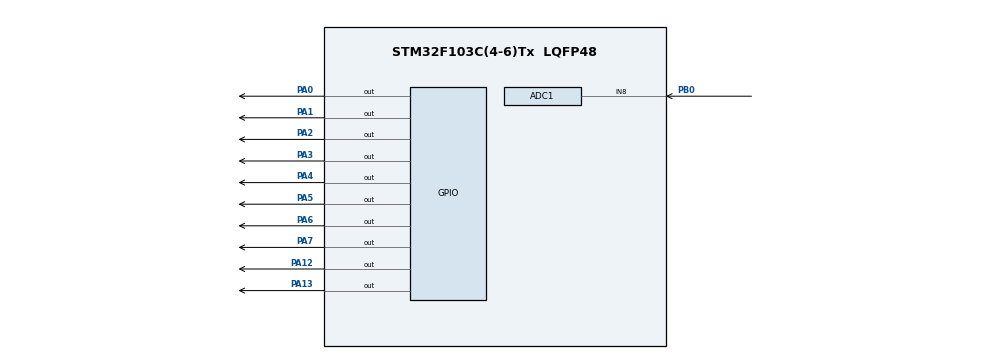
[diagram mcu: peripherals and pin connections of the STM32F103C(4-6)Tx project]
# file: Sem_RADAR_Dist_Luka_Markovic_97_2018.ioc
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ADC1.Channel-1\#ChannelRegularConversion=ADC_CHANNEL_8
ADC1.ContinuousConvMode=ENABLE
ADC1.NbrOfConversion=1
ADC1.NbrOfConversionFlag=1
ADC1.Rank-1\#ChannelRegularConversion=1
ADC1.SamplingTime-1\#ChannelRegularConversion=ADC_SAMPLETIME_239CYCLES_5
ADC1.master=1
Mcu.Family=STM32F1
Mcu.Name=STM32F103C(4-6)Tx
Mcu.Package=LQFP48
NVIC.PriorityGroup=NVIC_PRIORITYGROUP_4
PA0-WKUP.Signal=GPIO_Output
PA1.Signal=GPIO_Output
PA12.Signal=GPIO_Output
PA13.Signal=GPIO_Output
PA2.Signal=GPIO_Output
PA3.Signal=GPIO_Output
PA4.Signal=GPIO_Output
PA5.Signal=GPIO_Output
PA6.Signal=GPIO_Output
PA7.Signal=GPIO_Output
PB0.Signal=ADCx_IN8
ProjectManager.HeapSize=0x200
ProjectManager.StackSize=0x400
ProjectManager.TargetToolchain=STM32CubeIDE
RCC.APB1Freq_Value=8000000
RCC.APB2Freq_Value=8000000
SH.ADCx_IN8.0=ADC1_IN8,IN8
board=custom

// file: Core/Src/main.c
/* USER CODE BEGIN Header */
/**
  ******************************************************************************
  * @file           : main.c
  * @brief          : Main program body
  ******************************************************************************
  * @attention
  *
  * Copyright (c) 2023 STMicroelectronics.
  * All rights reserved.
  *
  * This software is licensed under terms that can be found in the LICENSE file
  * in the root directory of this software component.
  * If no LICENSE file comes with this software, it is provided AS-IS.
  *
  ******************************************************************************
  */
/* USER CODE END Header */
#include "main.h"

/* USER CODE BEGIN Includes */
#include <stdio.h>
#include <stdlib.h>
#include <string.h>
#include <math.h>
#include "LCD_DRIVER.h"
#include "arm_math.h"
/* USER CODE END Includes */

/* USER CODE BEGIN PD */
#define TRUE 1
#define FALSE 0

#define FFT_SIZE 32

#define PI 3.14159265359
#define SPEED_OF_LIGHT 3e8

/* USER CODE END PD */

ADC_HandleTypeDef hadc1;

void SystemClock_Config(void);
static void MX_GPIO_Init(void);
static void MX_ADC1_Init(void);

/* USER CODE BEGIN 0 */

//pomocna funkcija za konverziju float u string
void floatToString(char *buffer, int bufferSize, float value) {
    snprintf(buffer, bufferSize, "%.2f", value);
}

void collectADCSamples(float* samples, uint16_t size) {
	lcdWriteString("Gathering data...");

	HAL_ADCEx_Calibration_Start(&hadc1);

    for (int i = 0; i < size; i++) {
    	HAL_ADC_Start(&hadc1);
        if(HAL_ADC_PollForConversion(&hadc1, HAL_MAX_DELAY) == HAL_OK){

    		samples[i] = HAL_ADC_GetValue(&hadc1);
//    		char myString[10] = "";
//    		floatToString(myString, sizeof(myString), samples[i]);
//    		lcdWriteString(myString);
//    		lcdClear();

        }
		HAL_ADC_Stop(&hadc1);
    }

    lcdClear();
}

void calculateDFT(const float inputSignal[], float realPart[], float imagPart[], int length) {
    lcdWriteString("Converting...");

    for (int k = 0; k < length; k++) {
        realPart[k] = 0.0;
        imagPart[k] = 0.0;

        for (int n = 0; n < length; n++) {
            float angle = -2 * PI * k * n / length;
            float cos_val = cosf(angle);
            float sin_val = sinf(angle);
            realPart[k] += inputSignal[n] * cos_val;
            imagPart[k] -= inputSignal[n] * sin_val;
        }

        // Correct the DC offset for the first element
        if (k == 0) {
            realPart[k] /= length;
            imagPart[k] = 0.0;
        }
    }

    lcdClear();
}

/* USER CODE END 0 */

int main(void)
{

  /* MCU Configuration--------------------------------------------------------*/

  /* Reset of all peripherals, Initializes the Flash interface and the Systick. */
  HAL_Init();

  /* Configure the system clock */
  SystemClock_Config();

  /* Initialize all configured peripherals */
  MX_GPIO_Init();
  MX_ADC1_Init();
  /* USER CODE BEGIN 2 */
  lcdInit();

  //Init FFT handle
  //arm_cfft_radix2_instance_q15 fftInstance;

  //q15_t fftBufIn[FFT_SIZE];
  //q15_t fftBufOut[FFT_SIZE/2];

  char distanceString[20];
  float inputSignal[FFT_SIZE];

  float realPart[FFT_SIZE];
  float imagPart[FFT_SIZE];

  /* USER CODE END 2 */

  /* Infinite loop */
  while (1)
  {

    /* USER CODE BEGIN 3 */
	  collectADCSamples(inputSignal, FFT_SIZE);

//	  arm_cfft_radix2_init_q15(&fftInstance, FFT_SIZE, 0, 1);
//	  arm_cfft_radix2_q15(&fftInstance, fftBufIn);
//	  arm_cmplx_mag_q15(fftBufIn, fftBufOut, FFT_SIZE);

	  calculateDFT(inputSignal, realPart, imagPart, FFT_SIZE);

	  float amplitudeSpectrum[FFT_SIZE / 2];
	  for (int i = 0; i < FFT_SIZE / 2; i++) {
	      amplitudeSpectrum[i] = sqrt(realPart[i] * realPart[i] + imagPart[i] * imagPart[i]);
	  }

	  float maxAmplitude = amplitudeSpectrum[0];
	  int peakIndex = 0;
	  for (int i = 1; i < FFT_SIZE / 2; i++) {
	      if (amplitudeSpectrum[i] > maxAmplitude) {
	          maxAmplitude = amplitudeSpectrum[i];
	          peakIndex = i;

	      }
	  }

	  float frequencySlope = 200;

	  // Constants
	  uint32_t ADC_Clock_Frequency = 8000000;
	  uint32_t ADC_Prescaler = 2;
	  uint32_t ADC_Sampling_Time = 239.5;

	  float Sampling_Frequency_Hz;
	  Sampling_Frequency_Hz = (float)(ADC_Clock_Frequency / ADC_Prescaler) / ADC_Sampling_Time;

	  float peakFrequency = peakIndex * (Sampling_Frequency_Hz / FFT_SIZE);
	  float targetRange = (((peakFrequency/100) * SPEED_OF_LIGHT) / (2*frequencySlope*1000000));

	  floatToString(distanceString, sizeof(distanceString), targetRange);

	  lcdClear();
	  lcdWriteString(distanceString);
	  lcdWriteString("m");

//	  floatToString(distanceString, sizeof(distanceString), peakFrequency);
//
//	  lcdClear();
//	  lcdWriteString(distanceString);
//	  lcdWriteString("Hz");

	  HAL_Delay(1500);
	  lcdClear();

  }
  /* USER CODE END 3 */
}

void SystemClock_Config(void)
{
  RCC_OscInitTypeDef RCC_OscInitStruct = {0};
  RCC_ClkInitTypeDef RCC_ClkInitStruct = {0};
  RCC_PeriphCLKInitTypeDef PeriphClkInit = {0};

  /** Initializes the RCC Oscillators according to the specified parameters
  * in the RCC_OscInitTypeDef structure.
  */
  RCC_OscInitStruct.OscillatorType = RCC_OSCILLATORTYPE_HSI;
  RCC_OscInitStruct.HSIState = RCC_HSI_ON;
  RCC_OscInitStruct.HSICalibrationValue = RCC_HSICALIBRATION_DEFAULT;
  RCC_OscInitStruct.PLL.PLLState = RCC_PLL_NONE;
  if (HAL_RCC_OscConfig(&RCC_OscInitStruct) != HAL_OK)
  {
    Error_Handler();
  }

  /** Initializes the CPU, AHB and APB buses clocks
  */
  RCC_ClkInitStruct.ClockType = RCC_CLOCKTYPE_HCLK|RCC_CLOCKTYPE_SYSCLK
                              |RCC_CLOCKTYPE_PCLK1|RCC_CLOCKTYPE_PCLK2;
  RCC_ClkInitStruct.SYSCLKSource = RCC_SYSCLKSOURCE_HSI;
  RCC_ClkInitStruct.AHBCLKDivider = RCC_SYSCLK_DIV1;
  RCC_ClkInitStruct.APB1CLKDivider = RCC_HCLK_DIV1;
  RCC_ClkInitStruct.APB2CLKDivider = RCC_HCLK_DIV1;

  if (HAL_RCC_ClockConfig(&RCC_ClkInitStruct, FLASH_LATENCY_0) != HAL_OK)
  {
    Error_Handler();
  }
  PeriphClkInit.PeriphClockSelection = RCC_PERIPHCLK_ADC;
  PeriphClkInit.AdcClockSelection = RCC_ADCPCLK2_DIV2;
  if (HAL_RCCEx_PeriphCLKConfig(&PeriphClkInit) != HAL_OK)
  {
    Error_Handler();
  }
}

static void MX_ADC1_Init(void)
{

  ADC_ChannelConfTypeDef sConfig = {0};

  /** Common config
  */
  hadc1.Instance = ADC1;
  hadc1.Init.ScanConvMode = ADC_SCAN_DISABLE;
  hadc1.Init.ContinuousConvMode = ENABLE;
  hadc1.Init.DiscontinuousConvMode = DISABLE;
  hadc1.Init.ExternalTrigConv = ADC_SOFTWARE_START;
  hadc1.Init.DataAlign = ADC_DATAALIGN_RIGHT;
  hadc1.Init.NbrOfConversion = 1;
  if (HAL_ADC_Init(&hadc1) != HAL_OK)
  {
    Error_Handler();
  }

  /** Configure Regular Channel
  */
  sConfig.Channel = ADC_CHANNEL_8;
  sConfig.Rank = ADC_REGULAR_RANK_1;
  sConfig.SamplingTime = ADC_SAMPLETIME_239CYCLES_5;
  if (HAL_ADC_ConfigChannel(&hadc1, &sConfig) != HAL_OK)
  {
    Error_Handler();
  }

}

static void MX_GPIO_Init(void)
{
  GPIO_InitTypeDef GPIO_InitStruct = {0};

  /* GPIO Ports Clock Enable */
  __HAL_RCC_GPIOA_CLK_ENABLE();
  __HAL_RCC_GPIOB_CLK_ENABLE();

  /*Configure GPIO pin Output Level */
  HAL_GPIO_WritePin(GPIOA, GPIO_PIN_0|GPIO_PIN_1|GPIO_PIN_2|GPIO_PIN_3
                          |GPIO_PIN_4|GPIO_PIN_5|GPIO_PIN_6|GPIO_PIN_7
                          |GPIO_PIN_12|GPIO_PIN_13, GPIO_PIN_RESET);

  /*Configure GPIO pins : PA0 PA1 PA2 PA3
                           PA4 PA5 PA6 PA7
                           PA12 PA13 */
  GPIO_InitStruct.Pin = GPIO_PIN_0|GPIO_PIN_1|GPIO_PIN_2|GPIO_PIN_3
                          |GPIO_PIN_4|GPIO_PIN_5|GPIO_PIN_6|GPIO_PIN_7
                          |GPIO_PIN_12|GPIO_PIN_13;
  GPIO_InitStruct.Mode = GPIO_MODE_OUTPUT_PP;
  GPIO_InitStruct.Pull = GPIO_NOPULL;
  GPIO_InitStruct.Speed = GPIO_SPEED_FREQ_LOW;
  HAL_GPIO_Init(GPIOA, &GPIO_InitStruct);

}

void Error_Handler(void)
{
  __disable_irq();
  while (1)
  {
  }
}
